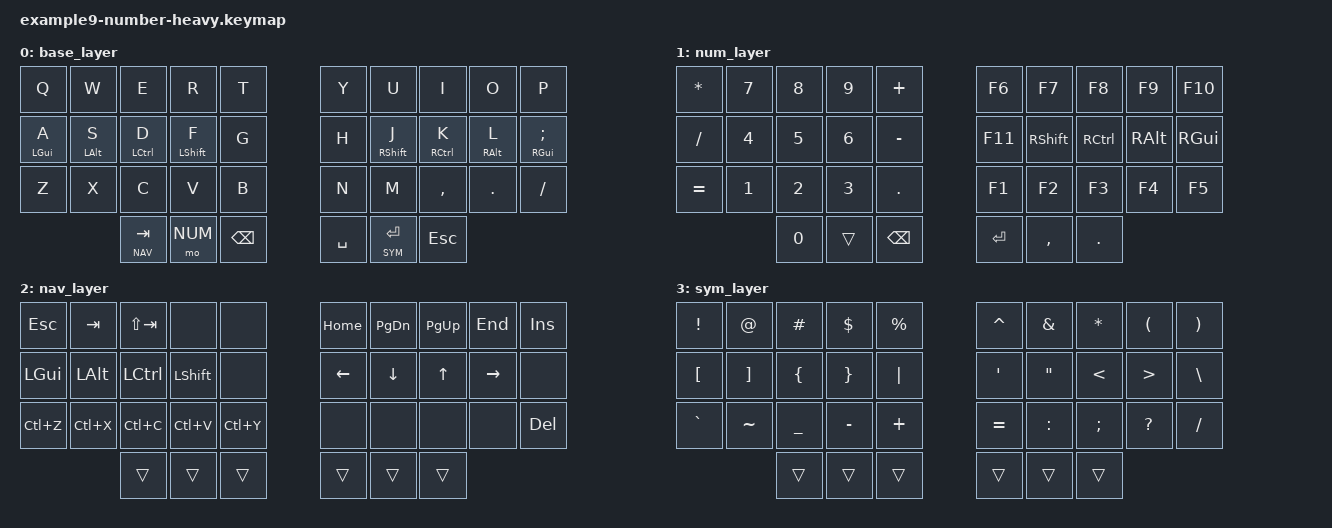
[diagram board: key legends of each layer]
// Example 9: Number & Data Entry Focused
// Philosophy: Optimize for numerical input, spreadsheets, data work
// Focus: Easy numpad access, symbols for formulas, quick math operations
// Thumb Strategy: Number layer constantly available, quick symbol access

#include <behaviors.dtsi>
#include <dt-bindings/zmk/keys.h>

#define BASE 0
#define NUM  1
#define NAV  2
#define SYM  3

/ {
    keymap {
        compatible = "zmk,keymap";

        base_layer {
            bindings = <
    // ╭─────────────┬─────────────┬─────────────┬─────────────┬─────────────╮   ╭─────────────┬─────────────┬─────────────┬─────────────┬─────────────╮
         &kp Q         &kp W         &kp E         &kp R         &kp T             &kp Y         &kp U         &kp I         &kp O         &kp P
    // ├─────────────┼─────────────┼─────────────┼─────────────┼─────────────┤   ├─────────────┼─────────────┼─────────────┼─────────────┼─────────────┤
         &mt LGUI A    &mt LALT S    &mt LCTRL D   &mt LSHFT F   &kp G             &kp H         &mt RSHFT J   &mt RCTRL K   &mt RALT L    &mt RGUI SEMI
    // ├─────────────┼─────────────┼─────────────┼─────────────┼─────────────┤   ├─────────────┼─────────────┼─────────────┼─────────────┼─────────────┤
         &kp Z         &kp X         &kp C         &kp V         &kp B             &kp N         &kp M         &kp COMMA     &kp DOT       &kp FSLH
    // ╰─────────────┴─────────────┴─────────────┼─────────────┼─────────────┤   ├─────────────┼─────────────┼─────────────┴─────────────┴─────────────╯
                                     &lt NAV TAB   &mo NUM       &kp BSPC          &kp SPACE     &lt SYM RET   &kp ESC
    //                               ╰─────────────┴─────────────┴─────────────╯   ╰─────────────┴─────────────┴─────────────╯
            >;
        };

        num_layer {
            // Optimized numpad layout with operators easily accessible
            bindings = <
         &kp STAR      &kp N7        &kp N8        &kp N9        &kp PLUS          &kp F6        &kp F7        &kp F8        &kp F9        &kp F10
         &kp FSLH      &kp N4        &kp N5        &kp N6        &kp MINUS         &kp F11       &kp RSHFT     &kp RCTRL     &kp RALT      &kp RGUI
         &kp EQUAL     &kp N1        &kp N2        &kp N3        &kp DOT           &kp F1        &kp F2        &kp F3        &kp F4        &kp F5
                                     &kp N0        &trans        &kp BSPC          &kp RET       &kp COMMA     &kp DOT
            >;
        };

        nav_layer {
            bindings = <
         &kp ESC       &kp TAB       &kp LS(TAB)   &none         &none             &kp HOME      &kp PG_DN     &kp PG_UP     &kp END       &kp INS
         &kp LGUI      &kp LALT      &kp LCTRL     &kp LSHFT     &none             &kp LEFT      &kp DOWN      &kp UP        &kp RIGHT     &none
         &kp LC(Z)     &kp LC(X)     &kp LC(C)     &kp LC(V)     &kp LC(Y)         &none         &none         &none         &none         &kp DEL
                                     &trans        &trans        &trans            &trans        &trans        &trans
            >;
        };

        sym_layer {
            bindings = <
         &kp EXCL      &kp AT        &kp HASH      &kp DLLR      &kp PRCNT         &kp CARET     &kp AMPS      &kp STAR      &kp LPAR      &kp RPAR
         &kp LBKT      &kp RBKT      &kp LBRC      &kp RBRC      &kp PIPE          &kp SQT       &kp DQT       &kp LT        &kp GT        &kp BSLH
         &kp GRAVE     &kp TILDE     &kp UNDER     &kp MINUS     &kp PLUS          &kp EQUAL     &kp COLON     &kp SEMI      &kp QMARK     &kp FSLH
                                     &trans        &trans        &trans            &trans        &trans        &trans
            >;
        };
    };
};
